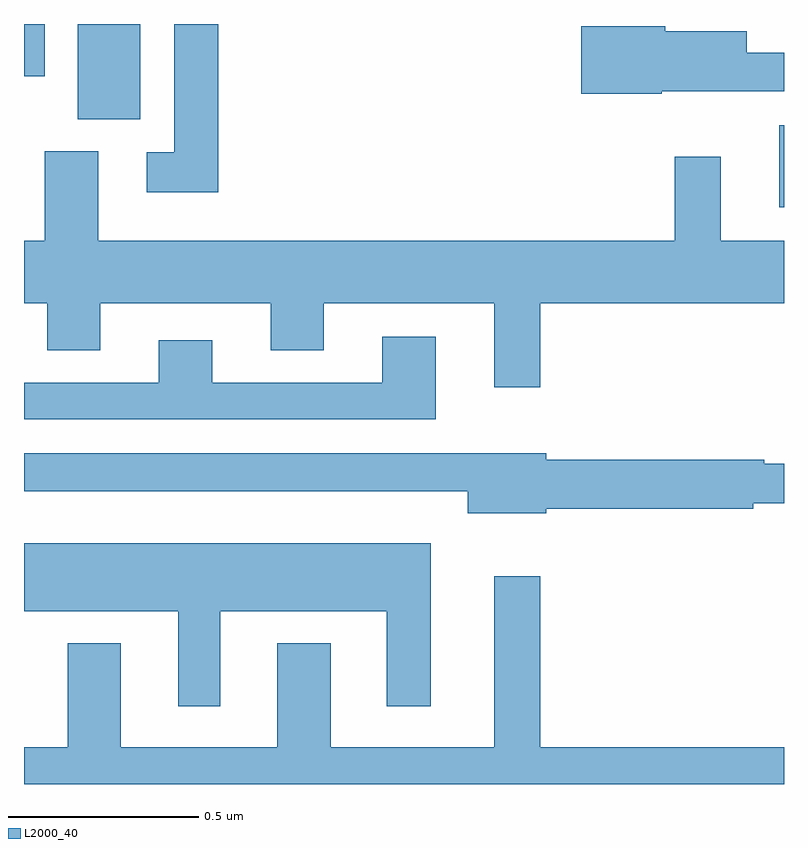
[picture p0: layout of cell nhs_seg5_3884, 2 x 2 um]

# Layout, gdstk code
import gdstk
lib = gdstk.Library(unit=1e-6, precision=1e-09)
def R(c, l, rs):  # rectangles x0, y0, x1, y1
    for r in rs: c.add(gdstk.rectangle(r[:2], r[2:], *l))
def P(c, l, *ps):  # polygons
    for p in ps: c.add(gdstk.Polygon(p, *l))
L2000_40 = (2000, 40)

nhs_seg5_3884 = lib.new_cell('nhs_seg5_3884')
R(nhs_seg5_3884, L2000_40, [(164.987,886.317,165,886.533), (163.142,886.549,163.306,886.799), (163,886.661,163.054,886.799)])
P(nhs_seg5_3884, L2000_40, [(163.511,886.799),(163.395,886.799),(163.395,886.461),(163.323,886.461),(163.323,886.356),(163.511,886.356)],
  [(164.678,886.622),(165,886.622),(165,886.723),(164.902,886.723),(164.902,886.78),(164.688,886.78),(164.688,886.793),(164.466,886.793),(164.466,886.615),(164.678,886.615)],
  [(165,886.228),(164.833,886.228),(164.833,886.45),(164.712,886.45),(164.712,886.228),(163.195,886.228),(163.195,886.464),(163.055,886.464),(163.055,886.228),(163,886.228),(163,886.064),(163.061,886.064),(163.061,885.94),(163.201,885.94),(163.201,886.064),(163.649,886.064),(163.649,885.94),(163.789,885.94),(163.789,886.064),(164.237,886.064),(164.237,885.843),(164.359,885.843),(164.359,886.064),(165,886.064)],
  [(164.083,885.976),(163.943,885.976),(163.943,885.855),(163.495,885.855),(163.495,885.967),(163.355,885.967),(163.355,885.855),(163,885.855),(163,885.759),(164.083,885.759)],
  [(164.374,885.523),(164.919,885.523),(164.919,885.538),(165,885.538),(165,885.642),(164.948,885.642),(164.948,885.652),(164.374,885.652),(164.374,885.67),(163,885.67),(163,885.569),(164.168,885.569),(164.168,885.512),(164.374,885.512)],
  [(163.516,885.254),(163.955,885.254),(163.955,885.003),(164.071,885.003),(164.071,885.433),(163,885.433),(163,885.254),(163.406,885.254),(163.406,885.003),(163.516,885.003)],
  [(165,884.896),(164.359,884.896),(164.359,885.346),(164.237,885.346),(164.237,884.896),(163.807,884.896),(163.807,885.169),(163.667,885.169),(163.667,884.896),(163.255,884.896),(163.255,885.169),(163.115,885.169),(163.115,884.896),(163,884.896),(163,884.799),(165,884.799)])

lib.write_gds('nhs_seg5_3884.gds')
